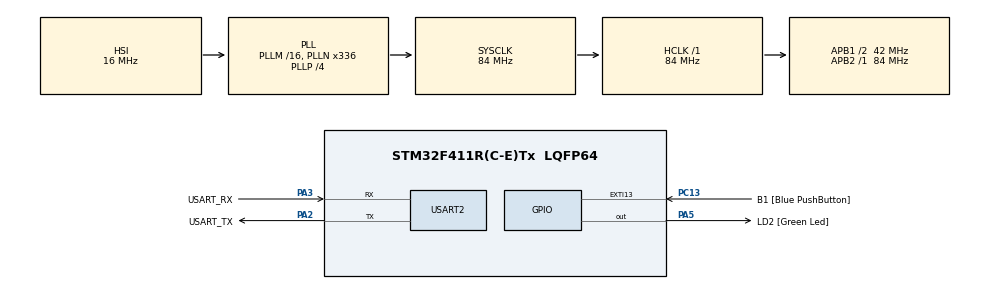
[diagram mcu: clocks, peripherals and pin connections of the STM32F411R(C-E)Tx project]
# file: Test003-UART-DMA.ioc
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Dma.Request0=USART2_RX
Dma.USART2_RX.0.Direction=DMA_PERIPH_TO_MEMORY
Dma.USART2_RX.0.FIFOMode=DMA_FIFOMODE_DISABLE
Dma.USART2_RX.0.Instance=DMA1_Stream5
Dma.USART2_RX.0.MemDataAlignment=DMA_MDATAALIGN_BYTE
Dma.USART2_RX.0.MemInc=DMA_MINC_ENABLE
Dma.USART2_RX.0.Mode=DMA_CIRCULAR
Dma.USART2_RX.0.PeriphDataAlignment=DMA_PDATAALIGN_BYTE
Dma.USART2_RX.0.PeriphInc=DMA_PINC_DISABLE
Dma.USART2_RX.0.Priority=DMA_PRIORITY_LOW
Mcu.Family=STM32F4
Mcu.Name=STM32F411R(C-E)Tx
Mcu.Package=LQFP64
NVIC.DMA1_Stream5_IRQn=true\:0\:0\:false\:false\:true\:false\:true\:true
NVIC.PriorityGroup=NVIC_PRIORITYGROUP_0
PA13.GPIO_Label=TMS
PA13.Mode=Serial_Wire
PA13.Signal=SYS_JTMS-SWDIO
PA14.GPIO_Label=TCK
PA14.Mode=Serial_Wire
PA14.Signal=SYS_JTCK-SWCLK
PA2.GPIO_Label=USART_TX
PA2.Mode=Asynchronous
PA2.Signal=USART2_TX
PA3.GPIO_Label=USART_RX
PA3.Mode=Asynchronous
PA3.Signal=USART2_RX
PA5.GPIO_Label=LD2 [Green Led]
PA5.Signal=GPIO_Output
PB3.GPIO_Label=SWO
PB3.Signal=SYS_JTDO-SWO
PC13-ANTI_TAMP.GPIO_Label=B1 [Blue PushButton]
PC13-ANTI_TAMP.GPIO_ModeDefaultEXTI=GPIO_MODE_IT_FALLING
PC13-ANTI_TAMP.Signal=GPXTI13
PC14-OSC32_IN.Mode=LSE-External-Oscillator
PC14-OSC32_IN.Signal=RCC_OSC32_IN
PC15-OSC32_OUT.Mode=LSE-External-Oscillator
PC15-OSC32_OUT.Signal=RCC_OSC32_OUT
PH0\ -\ OSC_IN.Mode=HSE-External-Clock-Source
PH0\ -\ OSC_IN.Signal=RCC_OSC_IN
PH1\ -\ OSC_OUT.Mode=HSE-External-Clock-Source
PH1\ -\ OSC_OUT.Signal=RCC_OSC_OUT
ProjectManager.HeapSize=0x200
ProjectManager.StackSize=0x400
ProjectManager.TargetToolchain=STM32CubeIDE
RCC.48MHZClocksFreq_Value=84000000
RCC.AHBFreq_Value=84000000
RCC.APB1CLKDivider=RCC_HCLK_DIV2
RCC.APB1Freq_Value=42000000
RCC.APB1TimFreq_Value=84000000
RCC.APB2Freq_Value=84000000
RCC.APB2TimFreq_Value=84000000
RCC.CortexFreq_Value=84000000
RCC.FLatency-AdvancedSettings=FLASH_LATENCY_2
RCC.HCLKFreq_Value=84000000
RCC.HSE_VALUE=8000000
RCC.HSI_VALUE=16000000
RCC.PLLN=336
RCC.PLLP=RCC_PLLP_DIV4
RCC.SYSCLKFreq_VALUE=84000000
RCC.SYSCLKSource=RCC_SYSCLKSOURCE_PLLCLK
RCC.VCOOutputFreq_Value=336000000
USART2.VirtualMode=VM_ASYNC
board=NUCLEO-F411RE

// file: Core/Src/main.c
/* USER CODE BEGIN Header */
/**
  ******************************************************************************
  * @file           : main.c
  * @brief          : Main program body
  ******************************************************************************
  * @attention
  *
  * Copyright (c) 2024 STMicroelectronics.
  * All rights reserved.
  *
  * This software is licensed under terms that can be found in the LICENSE file
  * in the root directory of this software component.
  * If no LICENSE file comes with this software, it is provided AS-IS.
  *
  ******************************************************************************
  */
/* USER CODE END Header */
#include "main.h"

UART_HandleTypeDef huart2;
DMA_HandleTypeDef hdma_usart2_rx;

void SystemClock_Config(void);
static void MX_GPIO_Init(void);
static void MX_DMA_Init(void);
static void MX_USART2_UART_Init(void);

/* USER CODE BEGIN 0 */
#define MAX_BUF 100
char Buf[MAX_BUF]; // global variable declaration (DMA)
int head = 0, tail = 0;
int Get_Buffer(char *bb) {
	int ret = 0;
	tail = MAX_BUF - huart2.hdmarx->Instance->NDTR;
	if(head == tail) {
		return ret;
	}
	if(head < tail){
		memcpy(bb, Buf + head, tail - head);
		ret = tail - head;
	} else {
		memcpy(bb, Buf + head, MAX_BUF - head);
		memcpy(bb + (MAX_BUF - head), Buf, tail);
		ret = MAX_BUF - head + tail;
	}
	head = tail;
	*(bb + ret) = 0;
	return ret;
}
/* USER CODE END 0 */

int main(void)
{

  /* MCU Configuration--------------------------------------------------------*/

  /* Reset of all peripherals, Initializes the Flash interface and the Systick. */
  HAL_Init();

  /* Configure the system clock */
  SystemClock_Config();

  /* Initialize all configured peripherals */
  MX_GPIO_Init();
  MX_DMA_Init();
  MX_USART2_UART_Init();
  /* USER CODE BEGIN 2 */
  ProgramStart("UART - DMA");
  HAL_UART_Receive_DMA(&huart2, Buf, MAX_BUF);
  /* USER CODE END 2 */

  /* Infinite loop */
  /* USER CODE BEGIN WHILE */
  char bb[MAX_BUF];
  while (1)
  {
	  if(Get_Buffer(bb)) {
		  printf("Buf : %s\r\n", bb);
	  }
	  HAL_Delay(1000);
    /* USER CODE END WHILE */

  }
}

void SystemClock_Config(void)
{
  RCC_OscInitTypeDef RCC_OscInitStruct = {0};
  RCC_ClkInitTypeDef RCC_ClkInitStruct = {0};

  /** Configure the main internal regulator output voltage
  */
  __HAL_RCC_PWR_CLK_ENABLE();
  __HAL_PWR_VOLTAGESCALING_CONFIG(PWR_REGULATOR_VOLTAGE_SCALE1);

  /** Initializes the RCC Oscillators according to the specified parameters
  * in the RCC_OscInitTypeDef structure.
  */
  RCC_OscInitStruct.OscillatorType = RCC_OSCILLATORTYPE_HSI;
  RCC_OscInitStruct.HSIState = RCC_HSI_ON;
  RCC_OscInitStruct.HSICalibrationValue = RCC_HSICALIBRATION_DEFAULT;
  RCC_OscInitStruct.PLL.PLLState = RCC_PLL_ON;
  RCC_OscInitStruct.PLL.PLLSource = RCC_PLLSOURCE_HSI;
  RCC_OscInitStruct.PLL.PLLM = 16;
  RCC_OscInitStruct.PLL.PLLN = 336;
  RCC_OscInitStruct.PLL.PLLP = RCC_PLLP_DIV4;
  RCC_OscInitStruct.PLL.PLLQ = 4;
  if (HAL_RCC_OscConfig(&RCC_OscInitStruct) != HAL_OK)
  {
    Error_Handler();
  }

  /** Initializes the CPU, AHB and APB buses clocks
  */
  RCC_ClkInitStruct.ClockType = RCC_CLOCKTYPE_HCLK|RCC_CLOCKTYPE_SYSCLK
                              |RCC_CLOCKTYPE_PCLK1|RCC_CLOCKTYPE_PCLK2;
  RCC_ClkInitStruct.SYSCLKSource = RCC_SYSCLKSOURCE_PLLCLK;
  RCC_ClkInitStruct.AHBCLKDivider = RCC_SYSCLK_DIV1;
  RCC_ClkInitStruct.APB1CLKDivider = RCC_HCLK_DIV2;
  RCC_ClkInitStruct.APB2CLKDivider = RCC_HCLK_DIV1;

  if (HAL_RCC_ClockConfig(&RCC_ClkInitStruct, FLASH_LATENCY_2) != HAL_OK)
  {
    Error_Handler();
  }
}

static void MX_USART2_UART_Init(void)
{

  huart2.Instance = USART2;
  huart2.Init.BaudRate = 115200;
  huart2.Init.WordLength = UART_WORDLENGTH_8B;
  huart2.Init.StopBits = UART_STOPBITS_1;
  huart2.Init.Parity = UART_PARITY_NONE;
  huart2.Init.Mode = UART_MODE_TX_RX;
  huart2.Init.HwFlowCtl = UART_HWCONTROL_NONE;
  huart2.Init.OverSampling = UART_OVERSAMPLING_16;
  if (HAL_UART_Init(&huart2) != HAL_OK)
  {
    Error_Handler();
  }

}

static void MX_DMA_Init(void)
{

  /* DMA controller clock enable */
  __HAL_RCC_DMA1_CLK_ENABLE();

  /* DMA interrupt init */
  /* DMA1_Stream5_IRQn interrupt configuration */
  HAL_NVIC_SetPriority(DMA1_Stream5_IRQn, 0, 0);
  HAL_NVIC_EnableIRQ(DMA1_Stream5_IRQn);

}

static void MX_GPIO_Init(void)
{
  GPIO_InitTypeDef GPIO_InitStruct = {0};

  /* GPIO Ports Clock Enable */
  __HAL_RCC_GPIOC_CLK_ENABLE();
  __HAL_RCC_GPIOH_CLK_ENABLE();
  __HAL_RCC_GPIOA_CLK_ENABLE();
  __HAL_RCC_GPIOB_CLK_ENABLE();

  /*Configure GPIO pin Output Level */
  HAL_GPIO_WritePin(LD2_GPIO_Port, LD2_Pin, GPIO_PIN_RESET);

  /*Configure GPIO pin : B1_Pin */
  GPIO_InitStruct.Pin = B1_Pin;
  GPIO_InitStruct.Mode = GPIO_MODE_IT_FALLING;
  GPIO_InitStruct.Pull = GPIO_NOPULL;
  HAL_GPIO_Init(B1_GPIO_Port, &GPIO_InitStruct);

  /*Configure GPIO pin : LD2_Pin */
  GPIO_InitStruct.Pin = LD2_Pin;
  GPIO_InitStruct.Mode = GPIO_MODE_OUTPUT_PP;
  GPIO_InitStruct.Pull = GPIO_NOPULL;
  GPIO_InitStruct.Speed = GPIO_SPEED_FREQ_LOW;
  HAL_GPIO_Init(LD2_GPIO_Port, &GPIO_InitStruct);

}

void Error_Handler(void)
{
  __disable_irq();
  while (1)
  {
  }
}
